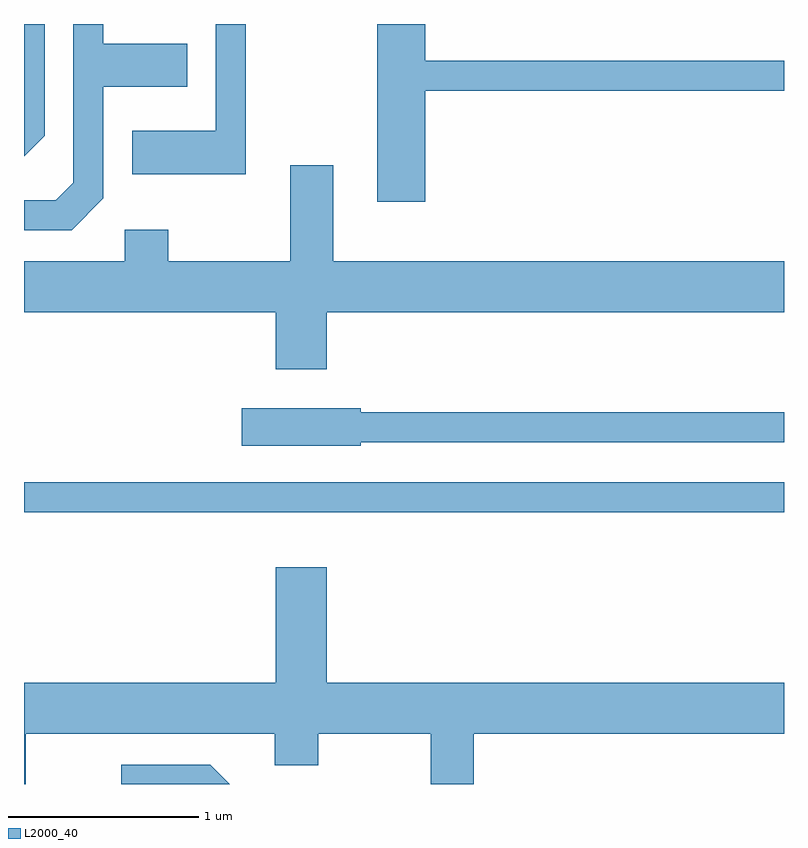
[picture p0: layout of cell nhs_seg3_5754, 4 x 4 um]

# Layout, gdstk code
import gdstk
lib = gdstk.Library(unit=1e-6, precision=1e-09)
def R(c, l, rs):  # rectangles x0, y0, x1, y1
    for r in rs: c.add(gdstk.rectangle(r[:2], r[2:], *l))
def P(c, l, *ps):  # polygons
    for p in ps: c.add(gdstk.Polygon(p, *l))
L2000_40 = (2000, 40)

nhs_seg3_5754 = lib.new_cell('nhs_seg3_5754')
R(nhs_seg3_5754, L2000_40, [(353.611,1209.321,357.611,1209.479)])
P(nhs_seg3_5754, L2000_40, [(353.719,1211.304),(353.719,1211.892),(353.611,1211.892),(353.611,1211.195)],
  [(354.029,1210.974),(354.029,1211.561),(354.469,1211.561),(354.469,1211.789),(354.029,1211.789),(354.029,1211.892),(353.871,1211.892),(353.871,1211.057),(353.779,1210.964),(353.611,1210.964),(353.611,1210.806),(353.862,1210.806)],
  [(355.724,1211.541),(357.611,1211.541),(357.611,1211.699),(355.724,1211.699),(355.724,1211.892),(355.471,1211.892),(355.471,1210.956),(355.724,1210.956)],
  [(354.779,1211.892),(354.621,1211.892),(354.621,1211.329),(354.181,1211.329),(354.181,1211.101),(354.779,1211.101)],
  [(355.204,1210.376),(357.611,1210.376),(357.611,1210.644),(355.239,1210.644),(355.239,1211.149),(355.011,1211.149),(355.011,1210.644),(354.369,1210.644),(354.369,1210.809),(354.141,1210.809),(354.141,1210.644),(353.611,1210.644),(353.611,1210.376),(354.936,1210.376),(354.936,1210.076),(355.204,1210.076)],
  [(355.384,1209.691),(357.611,1209.691),(357.611,1209.849),(355.384,1209.849),(355.384,1209.869),(354.756,1209.869),(354.756,1209.671),(355.384,1209.671)],
  [(355.204,1209.034),(354.936,1209.034),(354.936,1208.424),(353.611,1208.424),(353.611,1207.892),(353.619,1207.892),(353.619,1208.156),(354.931,1208.156),(354.931,1207.991),(355.159,1207.991),(355.159,1208.156),(355.751,1208.156),(355.751,1207.892),(355.979,1207.892),(355.979,1208.156),(357.611,1208.156),(357.611,1208.424),(355.204,1208.424)],
  [(354.592,1207.994),(354.123,1207.994),(354.123,1207.892),(354.694,1207.892)])

lib.write_gds('nhs_seg3_5754.gds')
